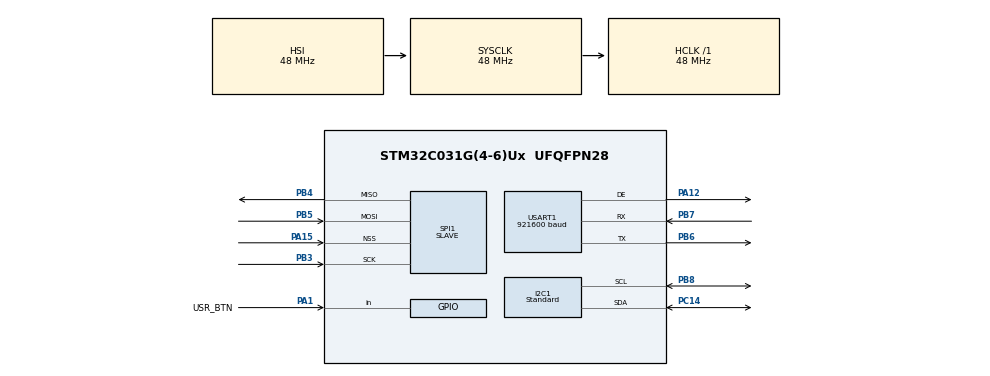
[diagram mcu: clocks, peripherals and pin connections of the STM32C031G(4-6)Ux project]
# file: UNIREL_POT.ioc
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I2C1.I2C_Speed_Mode=I2C_Standard
I2C1.Timing=0x10805D88
Mcu.Family=STM32C0
Mcu.Name=STM32C031G(4-6)Ux
Mcu.Package=UFQFPN28
NVIC.TIM14_IRQn=true\:2\:0\:true\:false\:true\:true\:true\:true
NVIC.TIM16_IRQn=true\:1\:0\:true\:false\:true\:true\:true\:true
NVIC.USART1_IRQn=true\:1\:0\:true\:false\:true\:true\:true\:true
PA1.GPIO_Label=USR_BTN
PA1.GPIO_PuPd=GPIO_PULLUP
PA1.Signal=GPIO_Input
PA12\ [PA10].Mode=Hardware Flow Control (RS485)
PA12\ [PA10].Signal=USART1_DE
PA13.Mode=Serial_Wire
PA13.Signal=DEBUG_SWDIO
PA14-BOOT0.Mode=Serial_Wire
PA14-BOOT0.Signal=DEBUG_SWCLK
PA15.Mode=NSS_Signal_Hard_Input
PA15.Signal=SPI1_NSS
PB3.Mode=Full_Duplex_Slave
PB3.Signal=SPI1_SCK
PB4.Mode=Full_Duplex_Slave
PB4.Signal=SPI1_MISO
PB5.Mode=Full_Duplex_Slave
PB5.Signal=SPI1_MOSI
PB6.Mode=Asynchronous
PB6.Signal=USART1_TX
PB7.Mode=Asynchronous
PB7.Signal=USART1_RX
PB8.GPIO_Pu=GPIO_PULLUP
PB8.Mode=I2C
PB8.Signal=I2C1_SCL
PC14-OSCX_IN\ (PC14).GPIO_Pu=GPIO_PULLUP
PC14-OSCX_IN\ (PC14).Mode=I2C
PC14-OSCX_IN\ (PC14).Signal=I2C1_SDA
ProjectManager.HeapSize=0x200
ProjectManager.StackSize=0x400
ProjectManager.TargetToolchain=STM32CubeIDE
RCC.ADCFreq_Value=48000000
RCC.AHBFreq_Value=48000000
RCC.CortexFreq_Value=48000000
RCC.EXTERNAL_CLOCK_VALUE=12288000
RCC.HCLKFreq_Value=48000000
RCC.HSE_VALUE=8000000
RCC.HSISYSCLKDivider=RCC_HSI_DIV1
RCC.HSI_VALUE=48000000
RCC.LSE_VALUE=32768
RCC.SYSCLKFreq_VALUE=48000000
SPI1.Direction=SPI_DIRECTION_2LINES
SPI1.Mode=SPI_MODE_SLAVE
SPI1.VirtualNSS=VM_NSSHARD
SPI1.VirtualType=VM_SLAVE
TIM14.Period=4799
TIM14.Prescaler=50
TIM16.Period=2000
TIM16.Prescaler=34
USART1.BaudRate=921600
USART1.StopBits=STOPBITS_2
USART1.VirtualMode-Asynchronous=VM_ASYNC
USART1.VirtualMode-Hardware\ Flow\ Control\ (RS485)=VM_ASYNC
VP_TIM14_VS_ClockSourceINT.Mode=Enable_Timer
VP_TIM16_VS_ClockSourceINT.Mode=Enable_Timer
board=custom

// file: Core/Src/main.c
/* USER CODE BEGIN Header */
/**
  ******************************************************************************
  * @file           : main.c
  * @brief          : Main program body
  ******************************************************************************
  * @attention
  *
  * Copyright (c) 2024 STMicroelectronics.
  * All rights reserved.
  *
  * This software is licensed under terms that can be found in the LICENSE file
  * in the root directory of this software component.
  * If no LICENSE file comes with this software, it is provided AS-IS.
  *
  ******************************************************************************
  */
/* USER CODE END Header */
#include "main.h"
#include "i2c.h"
#include "spi.h"
#include "tim.h"
#include "usart.h"
#include "gpio.h"

/* USER CODE BEGIN Includes */
#include "mb.h"
#include "port.h"
#include "mbport.h"

#include "housekeep.h"
#include "settings.h"
#include "relay.h"

/* USER CODE END Includes */

/* USER CODE BEGIN PV */
extern USHORT   usRegInputBuf[REG_INPUT_NREGS];
extern USHORT   usRegHoldingBuf[REG_HOLDING_NREGS];
extern USHORT   usRegCoilBuf[REG_COIL_NREGS];
extern USHORT   usRegDiscreteBuf[REG_DISCRETE_NREGS];
/* USER CODE END PV */

void SystemClock_Config(void);

int main(void)
{

  /* MCU Configuration--------------------------------------------------------*/

  /* Reset of all peripherals, Initializes the Flash interface and the Systick. */
  HAL_Init();

  /* Configure the system clock */
  SystemClock_Config();

  /* Initialize all configured peripherals */
  MX_GPIO_Init();
  MX_SPI1_Init();
  MX_TIM14_Init();
  MX_TIM16_Init();
  MX_USART1_UART_Init();
  MX_I2C1_Init();
  /* USER CODE BEGIN 2 */

  settings_init();

  MB_startup();

  relay_check_expanders(&hrel1);
  relay_mcp_init(&hrel1);

  start_housekeeping();
  /* USER CODE END 2 */

  /* Infinite loop */
  while (1)
  {

    /* USER CODE BEGIN 3 */
	  if(eMBPoll()!=MB_ENOERR)Error_Handler();  /*Modbus poll update in each run*/

  }
  /* USER CODE END 3 */
}

void SystemClock_Config(void)
{
  RCC_OscInitTypeDef RCC_OscInitStruct = {0};
  RCC_ClkInitTypeDef RCC_ClkInitStruct = {0};

  /** Initializes the RCC Oscillators according to the specified parameters
  * in the RCC_OscInitTypeDef structure.
  */
  RCC_OscInitStruct.OscillatorType = RCC_OSCILLATORTYPE_HSI;
  RCC_OscInitStruct.HSIState = RCC_HSI_ON;
  RCC_OscInitStruct.HSIDiv = RCC_HSI_DIV1;
  RCC_OscInitStruct.HSICalibrationValue = RCC_HSICALIBRATION_DEFAULT;
  if (HAL_RCC_OscConfig(&RCC_OscInitStruct) != HAL_OK)
  {
    Error_Handler();
  }

  /** Initializes the CPU, AHB and APB buses clocks
  */
  RCC_ClkInitStruct.ClockType = RCC_CLOCKTYPE_HCLK|RCC_CLOCKTYPE_SYSCLK
                              |RCC_CLOCKTYPE_PCLK1;
  RCC_ClkInitStruct.SYSCLKSource = RCC_SYSCLKSOURCE_HSI;
  RCC_ClkInitStruct.SYSCLKDivider = RCC_SYSCLK_DIV1;
  RCC_ClkInitStruct.AHBCLKDivider = RCC_HCLK_DIV1;
  RCC_ClkInitStruct.APB1CLKDivider = RCC_APB1_DIV1;

  if (HAL_RCC_ClockConfig(&RCC_ClkInitStruct, FLASH_LATENCY_1) != HAL_OK)
  {
    Error_Handler();
  }
}

void Error_Handler(void)
{
  __disable_irq();
  while (1)
  {
  }
}
